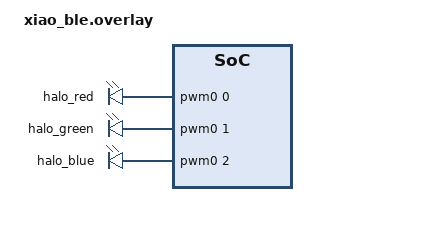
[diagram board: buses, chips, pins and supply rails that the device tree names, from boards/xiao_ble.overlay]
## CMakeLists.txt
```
cmake_minimum_required(VERSION 3.20.0)
find_package(Zephyr REQUIRED HINTS $ENV{ZEPHYR_BASE})
project(halo_nrf52840)

target_sources(app PRIVATE src/main.c src/radio.c)
```

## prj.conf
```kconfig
# USB CDC ACM serial console (works on DK, dongle, XIAO BLE, nice!nano, Feather, ...)
CONFIG_USB_DEVICE_STACK=y
CONFIG_USB_DEVICE_STACK_NEXT=n
CONFIG_USB_DEVICE_PRODUCT="halo-nrf52840"
CONFIG_USB_CDC_ACM=y
CONFIG_USB_DEVICE_INITIALIZE_AT_BOOT=n
CONFIG_SERIAL=y
CONFIG_CONSOLE=y
CONFIG_UART_CONSOLE=y
CONFIG_UART_LINE_CTRL=y

# Quiet console: no banner, no logging; the host tool parses replies line by line.
CONFIG_BOOT_BANNER=n
CONFIG_LOG=n
CONFIG_PRINTK=y

CONFIG_GPIO=y
CONFIG_CLOCK_CONTROL=y
CONFIG_MAIN_STACK_SIZE=4096

# The RADIO peripheral is driven directly; make sure nothing else owns it.
CONFIG_BT=n
CONFIG_IEEE802154=n
CONFIG_REBOOT=y
CONFIG_PWM=y
```

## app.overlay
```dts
/* CDC ACM console. Most nRF52840 boards (XIAO BLE, dongle, nice!nano, Feather UF2)
 * already define board_cdc_acm_uart through boards/common/usb/cdc_acm_serial.dtsi;
 * this merges with it and creates it for boards that lack it (nRF52840 DK).
 */
/ {
	chosen {
		zephyr,console = &board_cdc_acm_uart;
	};
};

&zephyr_udc0 {
	board_cdc_acm_uart: board_cdc_acm_uart {
		compatible = "zephyr,cdc-acm-uart";
	};
};
```

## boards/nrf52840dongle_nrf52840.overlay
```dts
#include "../app.overlay"

/* The dongle's LD2 RGB LED is already on PWM0 channels 0..2. */
/ {
	aliases {
		halo-red = &red_pwm_led;
		halo-green = &green_pwm_led;
		halo-blue = &blue_pwm_led;
	};
};
```

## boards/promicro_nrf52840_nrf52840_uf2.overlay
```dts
#include "../app.overlay"

/* Single LED on PWM0 channel 0: brightness follows the brightest of R, G, B. */
/ {
	aliases {
		halo-red = &red_pwm_led;
	};
};
```

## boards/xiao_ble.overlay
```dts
#include "../app.overlay"

/* Drive the XIAO's RGB LED (red P0.26, green P0.30, blue P0.06, active low)
 * from PWM0 so "LED R G B" has real brightness. The board's default PWM0 pin
 * (P0.17) is replaced.
 */
&pwm0_default {
	group1 {
		psels = <NRF_PSEL(PWM_OUT0, 0, 26)>, <NRF_PSEL(PWM_OUT1, 0, 30)>,
			<NRF_PSEL(PWM_OUT2, 0, 6)>;
		nordic,invert;
	};
};

&pwm0_sleep {
	group1 {
		psels = <NRF_PSEL(PWM_OUT0, 0, 26)>, <NRF_PSEL(PWM_OUT1, 0, 30)>,
			<NRF_PSEL(PWM_OUT2, 0, 6)>;
		low-power-enable;
	};
};

/ {
	halo_pwmleds {
		compatible = "pwm-leds";
		halo_red: halo_red {
			pwms = <&pwm0 0 PWM_USEC(1000) PWM_POLARITY_INVERTED>;
		};
		halo_green: halo_green {
			pwms = <&pwm0 1 PWM_USEC(1000) PWM_POLARITY_INVERTED>;
		};
		halo_blue: halo_blue {
			pwms = <&pwm0 2 PWM_USEC(1000) PWM_POLARITY_INVERTED>;
		};
	};

	aliases {
		halo-red = &halo_red;
		halo-green = &halo_green;
		halo-blue = &halo_blue;
	};
};
```

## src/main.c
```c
/* Serial front end: same line protocol as halo-esp32s3 so tools/halo_control.py
 * works unchanged. Nothing transmits unless the host sends a HALO command.
 */
#include <stdarg.h>
#include <stdbool.h>
#include <stdio.h>
#include <string.h>

#include <zephyr/kernel.h>
#include <zephyr/device.h>
#include <zephyr/devicetree.h>
#include <zephyr/drivers/gpio.h>
#include <zephyr/drivers/pwm.h>
#include <zephyr/drivers/uart.h>
#include <zephyr/sys/printk.h>
#include <zephyr/usb/usb_device.h>
#include <zephyr/sys/reboot.h>
#include <nrfx.h>

#include "halo_frame.h"
#include "radio.h"

#define CMD_LINE_MAX 128

#if defined(CONFIG_BOARD_XIAO_BLE) || defined(CONFIG_BOARD_ADAFRUIT_FEATHER_NRF52840) || \
	defined(CONFIG_BOARD_PROMICRO_NRF52840_NRF52840_UF2)
#define DFU_MAGIC 0x57		/* Adafruit nRF52 bootloader: DFU_MAGIC_UF2_RESET */
#else
#define DFU_MAGIC 0xb1		/* Nordic open bootloader: BOOTLOADER_DFU_START */
#endif

/* Payload byte 0 (flags) of a control packet. */
#define FLAG_POWER      0x80
#define FLAG_FRONT      0x40
#define FLAG_BACK       0x01
#define FLAG_BRIGHTNESS 0x04	/* selector: this packet carries a brightness value */
#define FLAG_TEMPERATURE 0x02	/* selector: this packet carries a colour temperature */

/* Payload byte 1: raw brightness code. 1..100 % maps linearly onto 0x4C..0xFE. */
#define LEVEL_MIN 0x4c
#define LEVEL_MAX 0xfe

/* Board LED mapping for "LED R G B".
 * PWM boards (halo-red/-green/-blue aliases from boards/*.overlay) get real
 * brightness with a gamma curve; a single halo-red channel follows max(R, G, B).
 * Otherwise each channel is a GPIO: non-zero = on.
 *   XIAO nRF52840: led0/led1/led2 are the red/green/blue dies of its RGB LED.
 *   nRF52840 dongle: led1/led2/led3 are the RGB LD2 (led0 is the green LD1).
 *   Single-LED boards (Pro Micro, DK...): led0 lights when any channel is non-zero.
 */
#define LED_OK(alias) DT_NODE_HAS_STATUS(DT_ALIAS(alias), okay)
#if DT_HAS_ALIAS(halo_red)
static const struct pwm_dt_spec pwm_leds[] = {
	PWM_DT_SPEC_GET(DT_ALIAS(halo_red)),
#if DT_HAS_ALIAS(halo_green) && DT_HAS_ALIAS(halo_blue)
	PWM_DT_SPEC_GET(DT_ALIAS(halo_green)), PWM_DT_SPEC_GET(DT_ALIAS(halo_blue)),
#endif
};
#define HAVE_PWM_LED 1
#else
#define HAVE_PWM_LED 0
#endif
#if defined(CONFIG_BOARD_NRF52840DONGLE) && LED_OK(led1) && LED_OK(led2) && LED_OK(led3)
static const struct gpio_dt_spec leds[] = {
	GPIO_DT_SPEC_GET(DT_ALIAS(led1), gpios), GPIO_DT_SPEC_GET(DT_ALIAS(led2), gpios),
	GPIO_DT_SPEC_GET(DT_ALIAS(led3), gpios),
};
#define LED_TYPE "LED board rgb GPIO"
#elif LED_OK(led0) && LED_OK(led1) && LED_OK(led2)
static const struct gpio_dt_spec leds[] = {
	GPIO_DT_SPEC_GET(DT_ALIAS(led0), gpios), GPIO_DT_SPEC_GET(DT_ALIAS(led1), gpios),
	GPIO_DT_SPEC_GET(DT_ALIAS(led2), gpios),
};
#define LED_TYPE "LED board rgb GPIO"
#elif LED_OK(led0)
static const struct gpio_dt_spec leds[] = {GPIO_DT_SPEC_GET(DT_ALIAS(led0), gpios)};
#define LED_TYPE "LED board led0 GPIO"
#else
static const struct gpio_dt_spec leds[] = {};
#define LED_TYPE "LED none"
#endif
#define HAVE_LED (ARRAY_SIZE(leds) > 0)

#if HAVE_PWM_LED
/* Perceptual brightness: pulse = period * (v / 255)^2. 1/255 is just visible. */
static void pwm_led_set(unsigned channel, unsigned value)
{
	const struct pwm_dt_spec *led = &pwm_leds[channel];
	uint32_t pulse = (uint32_t)((uint64_t)led->period * value * value / (255u * 255u));

	pwm_set_pulse_dt(led, pulse);
}
#endif

static const struct device *console = DEVICE_DT_GET(DT_CHOSEN(zephyr_console));

static const char HELP_TEXT[] =
	"BenQ ScreenBar Halo (1st generation) controller - nRF52840\n"
	"Firmware: halo-nrf52840 v0.2 (experimental)\n"
	"Radio: 2405 MHz, 125 kbit/s GFSK synthesized as 8x oversampled 1 Mbit/s symbols.\n"
	"Commands (newline terminated); press Enter to show this help again.\n"
	"HELP | help | ?       Print this help; no RF transmission.\n"
	"HALO?                Query protocol capabilities.\n"
	"HALO ADDR MODE LEVEL PID GAIN ATTEMPTS\n"
	"  ADDR: 8 hexadecimal digits, on-air address byte order.\n"
	"  MODE: 0=off, 1=front, 2=back, 3=both.\n"
	"  LEVEL: 0..100; 0=off, 1..100 maps to raw 4C..FE.\n"
	"  PID: 0..3; advance modulo 4 for each new command.\n"
	"  GAIN: 0..10 -> -40 -20 -16 -12 -8 -4 0 +2 +4 +6 +8 dBm.\n"
	"  ATTEMPTS: 1..5 maximum tries. Stop on matching CRC-valid ACK.\n"
	"  Example: HALO 16224CB1 2 50 0 8 3\n"
	"  Reply: HALODONE status attempts payload crc16 synth_us total_us turnaround_us ack_address_us ack_crc\n"
	"HALOTEMP ADDR MODE TEMP PID GAIN ATTEMPTS\n"
	"  Same as HALO but the frame carries colour temperature TEMP 0 (coldest)..100 (warmest).\n"
	"DIAG                 Details of the last attempt (RSSI, raw ACK bytes).\n"
	"PHY NRF1M|BLE1M      Modulator: Nrf_1Mbit (+-170 kHz, default) or Ble_1Mbit (+-250 kHz).\n"
	"DFU                  Reboot into the USB bootloader (UF2 drive or Nordic DFU).\n"
	"LED R G B            Board LED, 0..255 per colour (PWM with gamma on XIAO/dongle/Pro Micro); 50 50 50 at boot.\n"
	"LED?                 Query LED type.\n"
	"SYNC nonce           Echo synchronization marker.\n"
	"RELEASE              Acknowledge host cleanup.\n"
	"Each HALO command is bounded. No autonomous loop, no BLE.\n"
	"READY\n";

static void reply(const char *text)
{
	printk("%s", text);
}

static void replyf(const char *format, ...)
{
	char line[256];
	va_list args;

	va_start(args, format);
	vsnprintf(line, sizeof(line), format, args);
	va_end(args);
	reply(line);
}

/* Board LED at power-up, before the host sends anything. */
#define LED_DEFAULT_R 50
#define LED_DEFAULT_G 50
#define LED_DEFAULT_B 50

static void led_set(unsigned r, unsigned g, unsigned b)
{
#if HAVE_PWM_LED
	if (ARRAY_SIZE(pwm_leds) == 3) {
		pwm_led_set(0, r);
		pwm_led_set(1, g);
		pwm_led_set(2, b);
	} else {
		pwm_led_set(0, r > g ? (r > b ? r : b) : (g > b ? g : b));
	}
#else
	if (!HAVE_LED) {
		return;
	}
	if (ARRAY_SIZE(leds) == 3) {
		gpio_pin_set_dt(&leds[0], r != 0);
		gpio_pin_set_dt(&leds[1], g != 0);
		gpio_pin_set_dt(&leds[2], b != 0);
	} else {
		gpio_pin_set_dt(&leds[0], (r | g | b) != 0);
	}
#endif
}

static void handle_led(const char *line)
{
	unsigned r, g, b;
	char extra;

	if (sscanf(line, "LED %u %u %u %c", &r, &g, &b, &extra) != 3 || r > 255 || g > 255 ||
	    b > 255) {
		reply("ERR led_args\n");
		return;
	}
	if (!HAVE_PWM_LED && !HAVE_LED) {
		reply("ERR led_init\n");
		return;
	}
	led_set(r, g, b);
	replyf("OK LED %u %u %u\n", r, g, b);
}

/* HALO: brightness frame (LEVEL 0..100, 0 = off). HALOTEMP: colour temperature
 * frame (TEMP 0 coldest .. 100 warmest). Each frame carries exactly one selector.
 */
static void handle_halo(const char *args, bool temperature)
{
	unsigned addr, mode, level, pid, gain, max_attempts;
	char extra;
	int fields = sscanf(args, "%x %u %u %u %u %u %c", &addr, &mode, &level, &pid, &gain,
			    &max_attempts, &extra);

	if (fields != 6 || mode > 3 || level > 100 || pid > 3 || gain > 10 || max_attempts < 1 ||
	    max_attempts > 5) {
		reply("ERR halo_args\n");
		return;
	}

	/* Mode 0 keeps the front-lamp bits of an ordinary command but with POWER clear. */
	uint8_t lamps = mode == 2 ? FLAG_BACK : mode == 3 ? (FLAG_FRONT | FLAG_BACK) : FLAG_FRONT;
	uint8_t flags, value;

	if (temperature) {
		flags = lamps | FLAG_TEMPERATURE | (mode != 0 ? FLAG_POWER : 0);
		value = (uint8_t)level;
	} else {
		bool on = mode != 0 && level != 0;

		flags = lamps | FLAG_BRIGHTNESS | (on ? FLAG_POWER : 0);
		value = level ? (uint8_t)(LEVEL_MIN + ((level - 1) * (LEVEL_MAX - LEVEL_MIN) + 49) / 99)
			      : LEVEL_MIN;
	}

	int64_t start = k_uptime_ticks();
	uint16_t crc;
	halo_result_t r = halo_radio_send(addr, flags, value, pid, gain, max_attempts, &crc);
	uint64_t total_us = k_ticks_to_us_floor64(k_uptime_ticks() - start);
	const char *status = r.ack ? "ACK" : r.rx_error ? "RX_ERROR" : "NO_ACK";

	/* synth_us is 0: the frame is a byte table, there is no IQ synthesis here. */
	replyf("HALODONE %s %u %02X%02X %04X 0 %llu %u %u %04X\n", status, r.attempts,
	       (unsigned)flags, (unsigned)value, (unsigned)crc, (unsigned long long)total_us,
	       r.turnaround_us, r.ack_address_us, (unsigned)r.ack_crc);
}

static void handle_diag(void)
{
	const halo_diag_t *d = halo_radio_diag();

	replyf("DIAG phy=%s tx=%ddBm tx_us=%u rx_ready=%u rx_end=%u rx_match=%u address_us=%u bytes=%u\n",
	       d->phy == HALO_PHY_BLE1M ? "BLE1M" : "NRF1M", d->tx_dbm, d->tx_us, d->rx_ready,
	       d->rx_end, d->rx_match, d->rx_address_us, d->rx_bytes);
	replyf("DIAG rssi_max=%ddBm at %uus rssi_ack=%ddBm mismatches=%u spurious=%u offset=%d phase=%u verified=%u\n",
	       d->rssi_max_dbm, d->rssi_max_us, d->rssi_ack_dbm, d->mismatches, d->spurious, d->best_offset,
	       d->best_phase, d->verified_bits);
	reply("DIAG rssi16us=");
	for (unsigned i = 0; i < HALO_RSSI_TRACE; i++) {
		replyf("%d ", d->rssi_trace[i]);
	}
	reply("\n");
	reply("DIAG raw=");
	for (unsigned i = 0; i < d->rx_bytes && i < HALO_RX_BYTES; i++) {
		replyf("%02X", d->raw[i]);
	}
	reply("\n");
}

static void handle(const char *line)
{
	if (!strcmp(line, "HELP") || !strcmp(line, "help") || !strcmp(line, "?")) {
		reply(HELP_TEXT);
	} else if (!strncmp(line, "SYNC ", 5)) {
		reply(line);
		reply("\n");
	} else if (!strcmp(line, "RELEASE")) {
		reply("OK\n");
	} else if (!strcmp(line, "LED?")) {
#if HAVE_PWM_LED
		reply(ARRAY_SIZE(pwm_leds) == 3 ? "LED board rgb PWM\n" : "LED board led0 PWM\n");
#else
		reply(LED_TYPE "\n");
#endif
	} else if (!strncmp(line, "LED ", 4)) {
		handle_led(line);
	} else if (!strcmp(line, "HALO?")) {
		reply("HALO 3 ACK MAX_ATTEMPTS\n");
	} else if (!strncmp(line, "HALO ", 5)) {
		handle_halo(line + 5, false);
	} else if (!strncmp(line, "HALOTEMP ", 9)) {
		handle_halo(line + 9, true);
	} else if (!strcmp(line, "DFU")) {
		/* Reboot into the board's USB bootloader through GPREGRET: Adafruit UF2
		 * bootloader (XIAO, nice!nano, Feather) wants 0x57 and then shows a drive;
		 * Nordic's open bootloader wants BOOTLOADER_DFU_START = 0xB1.
		 */
		reply("OK DFU rebooting\n");
		k_msleep(50);
		NRF_POWER->GPREGRET = DFU_MAGIC;
		sys_reboot(SYS_REBOOT_COLD);
	} else if (!strcmp(line, "DIAG")) {
		handle_diag();
	} else if (!strcmp(line, "PHY NRF1M")) {
		halo_radio_set_phy(HALO_PHY_NRF1M);
		reply("OK PHY NRF1M\n");
	} else if (!strcmp(line, "PHY BLE1M")) {
		halo_radio_set_phy(HALO_PHY_BLE1M);
		reply("OK PHY BLE1M\n");
	} else if (!strcmp(line, "PHY?")) {
		replyf("PHY %s\n", halo_radio_get_phy() == HALO_PHY_BLE1M ? "BLE1M" : "NRF1M");
	} else {
		reply("ERR command - type HELP or press Enter for instructions\n");
	}
}

int main(void)
{
#if !HAVE_PWM_LED
	for (unsigned i = 0; i < ARRAY_SIZE(leds); i++) {
		if (gpio_is_ready_dt(&leds[i])) {
			gpio_pin_configure_dt(&leds[i], GPIO_OUTPUT_INACTIVE);
		}
	}
#endif
	led_set(LED_DEFAULT_R, LED_DEFAULT_G, LED_DEFAULT_B);
	if (usb_enable(NULL) != 0) {
		return 0;
	}
	halo_radio_init();

	char line[CMD_LINE_MAX];
	unsigned used = 0;
	bool overflow = false;

	for (;;) {
		unsigned char c;

		if (uart_poll_in(console, &c) != 0) {
			k_msleep(1);
			continue;
		}
		if (c == '\r') {
			continue;
		}
		if (c != '\n') {
			if (used + 1 < sizeof(line)) {
				line[used++] = (char)c;
			} else {
				overflow = true;
			}
			continue;
		}
		if (overflow) {
			reply("ERR line_too_long\n");
		} else if (used) {
			line[used] = 0;
			handle(line);
		} else {
			reply(HELP_TEXT);
		}
		used = 0;
		overflow = false;
	}
	return 0;
}
```

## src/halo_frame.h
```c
/* BenQ ScreenBar Halo (1st gen) air frame: bit layout and CRC16.
 * Plain C, no SoC dependencies. Same layout as halo-esp32s3/main/halo_synth.h.
 *
 * Command (81 bits, MSB first): 8-bit preamble 0x55, 32-bit address, 6-bit
 * length (=2), 2-bit PID, NO_ACK (=0), 2 payload bytes, CRC16 (poly 0x1021,
 * init 0xFFFF) over everything after the preamble.
 *
 * ACK (57 bits after the lamp's own preamble): 32-bit address, 6-bit length 0,
 * the same PID, NO_ACK = 1, CRC16 over those 41 bits.
 */
#pragma once
#include <stdint.h>

#define HALO_PACKET_BITS   81u
#define HALO_ACK_BITS      57u
#define HALO_ACK_BODY_BITS 41u

static inline uint16_t halo_crc16(const uint8_t *bits, unsigned count)
{
	uint16_t crc = 0xffff;

	for (unsigned j = 0; j < count; j++) {
		unsigned mix = (crc >> 15) ^ bits[j];

		crc = (uint16_t)(crc << 1);
		if (mix) {
			crc ^= 0x1021;
		}
	}
	return crc;
}

static inline void halo_append_bits(uint8_t *bits, unsigned *n, uint32_t value, unsigned width)
{
	for (unsigned i = width; i; i--) {
		bits[(*n)++] = (value >> (i - 1)) & 1;
	}
}

/* Write the 81-bit command MSB first into bits[]; returns its CRC16. */
static inline uint16_t halo_packet(uint32_t address, uint8_t flags, uint8_t value, unsigned pid,
				   uint8_t bits[HALO_PACKET_BITS])
{
	unsigned n = 0;

	halo_append_bits(bits, &n, 0x55, 8);
	halo_append_bits(bits, &n, address, 32);
	halo_append_bits(bits, &n, 2, 6);	/* payload length */
	halo_append_bits(bits, &n, pid, 2);
	halo_append_bits(bits, &n, 0, 1);	/* NO_ACK = 0: we want an ACK */
	halo_append_bits(bits, &n, flags, 8);
	halo_append_bits(bits, &n, value, 8);
	uint16_t crc = halo_crc16(bits + 8, n - 8);

	halo_append_bits(bits, &n, crc, 16);
	return crc;
}

/* Build the 57-bit pattern an ACK for (address, pid) must contain; returns its CRC16. */
static inline uint16_t halo_ack_pattern(uint32_t address, unsigned pid, uint8_t bits[HALO_ACK_BITS])
{
	unsigned n = 0;

	halo_append_bits(bits, &n, address, 32);
	halo_append_bits(bits, &n, 0, 6);	/* payload length 0 */
	halo_append_bits(bits, &n, pid, 2);
	halo_append_bits(bits, &n, 1, 1);	/* NO_ACK */
	uint16_t crc = halo_crc16(bits, HALO_ACK_BODY_BITS);

	halo_append_bits(bits, &n, crc, 16);
	return crc;
}
```

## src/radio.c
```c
/* nRF52840 RADIO driver for the ScreenBar Halo air interface.
 *
 * The lamp (Holtek BC5602) talks 125 kbit/s GFSK with +-160 kHz deviation on
 * 2405 MHz. The nRF52840 RADIO has no 125 kbit/s (nor 250 kbit/s) proprietary
 * mode, so the frame is sent through the 1 Mbit/s modulator with every air
 * symbol repeated 8 times: one 0x00 or 0xFF payload byte per 125 kbit/s bit.
 * Nrf_1Mbit uses +-170 kHz deviation, close enough to the lamp's 160 kHz.
 * Whitening and the hardware CRC are off; the frame CRC is in the payload.
 *
 * On-air stream (1 Mbit/s bytes):
 *   hw preamble (1 byte, alternating)      ignored by the lamp
 *   hw address  FF 00 FF 00 FF             symbols 1 0 1 0 1: extends the preamble
 *   payload     81 bytes of 0x00/0xFF      the 81-bit Halo frame
 *
 * The hardware address is sent base first (register LSByte first), prefix last;
 * this is the same mapping Bluetooth LE uses (BASE0 = AA << 8, PREFIX0 = AA >> 24).
 *
 * ACK: after END the radio flips to RX with a 3-symbol hardware address (see
 * rx_pattern below) that fires on the lamp's ramp-up carrier, preamble or ACK
 * body, then captures HALO_RX_BYTES of 0x00/0xFF bytes. decode_ack() votes them
 * into symbols at all 8 phases and aligns them against the expected preamble +
 * 57-bit ACK. RSSI is sampled until the address matches so an unmatched reply
 * still shows up as energy in DIAG.
 */
#include <string.h>

#include <zephyr/kernel.h>
#include <zephyr/irq.h>
#include <zephyr/drivers/clock_control.h>
#include <zephyr/drivers/clock_control/nrf_clock_control.h>
#include <nrfx.h>

#include "halo_frame.h"
#include "radio.h"

#define HALO_FREQUENCY      5u		/* 2400 + 5 = 2405 MHz */
#define SYMBOL_US           8u		/* one 125 kbit/s bit = 8 us = 8 bits at 1 Mbit/s */
#define RX_HW_SYMBOLS       3u		/* hardware address: 3 oversampled symbols */
#define RSSI_TRACE_STEP_US  16u
#define RX_WINDOW_US        1600u	/* lamp answers ~184 us after our packet, ACK lasts ~520 us */
#define TX_TIMEOUT_US       3000u
#define RETRY_DELAY_MS      100
#define HFXO_TIMEOUT_US     100000u

#define SYM(bit) ((uint8_t)((bit) ? 0xffu : 0x00u))

static halo_phy_t current_phy = HALO_PHY_NRF1M;
static uint8_t tx_buf[HALO_PACKET_BITS];
static uint8_t rx_buf[HALO_RX_BYTES];
static halo_diag_t diag;

/* GAIN 0..10 -> dBm. Index 8 (the ESP tool's default) is +4 dBm. */
static const int gain_dbm[11] = {-40, -20, -16, -12, -8, -4, 0, 2, 4, 6, 8};
static const uint32_t gain_reg[11] = {
	RADIO_TXPOWER_TXPOWER_Neg40dBm, RADIO_TXPOWER_TXPOWER_Neg20dBm,
	RADIO_TXPOWER_TXPOWER_Neg16dBm, RADIO_TXPOWER_TXPOWER_Neg12dBm,
	RADIO_TXPOWER_TXPOWER_Neg8dBm,  RADIO_TXPOWER_TXPOWER_Neg4dBm,
	RADIO_TXPOWER_TXPOWER_0dBm,     RADIO_TXPOWER_TXPOWER_Pos2dBm,
	RADIO_TXPOWER_TXPOWER_Pos4dBm,  RADIO_TXPOWER_TXPOWER_Pos6dBm,
	RADIO_TXPOWER_TXPOWER_Pos8dBm,
};

/* TIMER1 as a free-running 1 MHz microsecond clock. */
static void timer_init(void)
{
	NRF_TIMER1->TASKS_STOP = 1;
	NRF_TIMER1->MODE = TIMER_MODE_MODE_Timer;
	NRF_TIMER1->BITMODE = TIMER_BITMODE_BITMODE_32Bit;
	NRF_TIMER1->PRESCALER = 4;	/* 16 MHz / 2^4 */
	NRF_TIMER1->TASKS_CLEAR = 1;
	NRF_TIMER1->TASKS_START = 1;
}

static inline uint32_t now_us(void)
{
	NRF_TIMER1->TASKS_CAPTURE[0] = 1;
	return NRF_TIMER1->CC[0];
}

static bool hfxo_running(void)
{
	return (NRF_CLOCK->HFCLKSTAT & (CLOCK_HFCLKSTAT_SRC_Msk | CLOCK_HFCLKSTAT_STATE_Msk)) ==
	       ((CLOCK_HFCLKSTAT_SRC_Xtal << CLOCK_HFCLKSTAT_SRC_Pos) |
		(CLOCK_HFCLKSTAT_STATE_Running << CLOCK_HFCLKSTAT_STATE_Pos));
}

void halo_radio_init(void)
{
	/* The RADIO needs the 32 MHz crystal, not the RC oscillator. Keep it on. */
	static const struct device *clock = DEVICE_DT_GET_ONE(nordic_nrf_clock);

	(void)clock_control_on(clock, CLOCK_CONTROL_NRF_SUBSYS_HF);
	timer_init();
	memset(&diag, 0, sizeof(diag));
}

void halo_radio_set_phy(halo_phy_t phy)
{
	current_phy = phy;
}

halo_phy_t halo_radio_get_phy(void)
{
	return current_phy;
}

static int halo_radio_gain_dbm(unsigned gain)
{
	return gain_dbm[gain > 10 ? 10 : gain];
}

static void radio_reset_common(unsigned gain)
{
	NRF_RADIO->POWER = 0;
	NRF_RADIO->POWER = 1;
	NRF_RADIO->MODE = (current_phy == HALO_PHY_BLE1M ? RADIO_MODE_MODE_Ble_1Mbit
							 : RADIO_MODE_MODE_Nrf_1Mbit)
			  << RADIO_MODE_MODE_Pos;
	/* Fast ramp-up (40 us instead of 140 us: the ACK arrives ~184 us after our
	 * packet), DTX = center (unmodulated carrier outside the packet).
	 */
	NRF_RADIO->MODECNF0 = (RADIO_MODECNF0_RU_Fast << RADIO_MODECNF0_RU_Pos) |
			      (RADIO_MODECNF0_DTX_Center << RADIO_MODECNF0_DTX_Pos);
	NRF_RADIO->TXPOWER = gain_reg[gain > 10 ? 10 : gain] << RADIO_TXPOWER_TXPOWER_Pos;
	NRF_RADIO->FREQUENCY = HALO_FREQUENCY;
	/* No S0 / LENGTH / S1 fields, 8-bit preamble. */
	NRF_RADIO->PCNF0 = RADIO_PCNF0_PLEN_8bit << RADIO_PCNF0_PLEN_Pos;
	NRF_RADIO->CRCCNF = RADIO_CRCCNF_LEN_Disabled << RADIO_CRCCNF_LEN_Pos;
	NRF_RADIO->TIFS = 0;
	NRF_RADIO->SHORTS = 0;
	NRF_RADIO->INTENCLR = 0xffffffffu;
}

static uint32_t pcnf1(unsigned payload_bytes, unsigned balen)
{
	return ((uint32_t)payload_bytes << RADIO_PCNF1_MAXLEN_Pos) |
	       ((uint32_t)payload_bytes << RADIO_PCNF1_STATLEN_Pos) |
	       ((uint32_t)balen << RADIO_PCNF1_BALEN_Pos) |
	       (RADIO_PCNF1_ENDIAN_Little << RADIO_PCNF1_ENDIAN_Pos) |
	       (RADIO_PCNF1_WHITEEN_Disabled << RADIO_PCNF1_WHITEEN_Pos);
}

static void clear_events(void)
{
	NRF_RADIO->EVENTS_READY = 0;
	NRF_RADIO->EVENTS_ADDRESS = 0;
	NRF_RADIO->EVENTS_PAYLOAD = 0;
	NRF_RADIO->EVENTS_END = 0;
	NRF_RADIO->EVENTS_DISABLED = 0;
	NRF_RADIO->EVENTS_RSSIEND = 0;
}

static void radio_disable_sync(void)
{
	NRF_RADIO->SHORTS = 0;
	NRF_RADIO->EVENTS_DISABLED = 0;
	NRF_RADIO->TASKS_DISABLE = 1;
	uint32_t t0 = now_us();

	while (!NRF_RADIO->EVENTS_DISABLED && now_us() - t0 < 1000u) {
	}
}

/* Transmit tx_buf. Returns the END timestamp, or 0 on timeout. */
static uint32_t transmit(unsigned gain)
{
	radio_reset_common(gain);
	NRF_RADIO->PCNF1 = pcnf1(HALO_PACKET_BITS, 4);
	NRF_RADIO->BASE0 = 0x00ff00ffu;		/* on air: FF 00 FF 00 */
	NRF_RADIO->PREFIX0 = 0xffu;		/* then FF */
	NRF_RADIO->TXADDRESS = 0;
	NRF_RADIO->PACKETPTR = (uint32_t)tx_buf;
	NRF_RADIO->SHORTS = RADIO_SHORTS_READY_START_Msk | RADIO_SHORTS_END_DISABLE_Msk;
	clear_events();

	uint32_t t0 = now_us();

	NRF_RADIO->TASKS_TXEN = 1;
	uint32_t t_end = 0;

	while (now_us() - t0 < TX_TIMEOUT_US) {
		if (NRF_RADIO->EVENTS_END) {
			t_end = now_us();
			break;
		}
	}
	diag.tx_us = t_end ? t_end - t0 : 0;
	if (!t_end) {
		radio_disable_sync();
		return 0;
	}
	while (!NRF_RADIO->EVENTS_DISABLED && now_us() - t_end < 1000u) {
	}
	return t_end;
}

/* Hardware address patterns. Captures show the 1 Mbit/s demodulator decodes the
 * lamp's 0 symbols as solid runs of zeros but shortens and sometimes corrupts
 * the 1 symbols (its decision threshold sits off-centre: carrier offset). So
 * logical address 0 is three 0 symbols (24 zeros), which the lamp's unmodulated
 * ramp-up carrier, the preamble/address boundary or any 0 0 0 in the body
 * satisfies; logical address 1 (1 0 0) is a fallback that needs a two-symbol
 * run of ones in front of it. The capture is long enough to hold the whole ACK
 * from wherever the correlator fired; decode_ack() aligns it.
 */
static const uint8_t rx_pattern[2][RX_HW_SYMBOLS] = {{0, 0, 0}, {1, 0, 0}};

/* Decode the capture. Bit i of byte k was on air at 8k+i. For each of the 8
 * symbol phases the middle 6 bits of every 8-bit window are voted into a symbol.
 * Captures show 0 symbols come out as clean zeros while 1 symbols shrink to as
 * little as one bit (the demodulator's threshold sits off-centre), so any one
 * in the window makes it a 1. The result is aligned against the expected
 * sequence (8-bit preamble 0x55 + 57-bit ACK body) at every shift that keeps
 * the end of the body, i.e. the CRC, inside the capture. Accepted when the
 * overlap is exact, or when the whole body is present, every expected 0 was
 * received as 0 and at most MAX_SQUASHED expected ones came back as 0 (the
 * only error the demodulator makes). All ~35 zero positions plus the
 * remaining ones must still match, so a different ACK or noise cannot pass.
 */
#define MIN_VERIFY_BITS 24u
#define ACK_SEQ_BITS    (8u + HALO_ACK_BITS)
#define MAX_SQUASHED    6u

static bool decode_ack(const uint8_t *expected, unsigned nbytes)
{
	static uint8_t seq[ACK_SEQ_BITS];
	static uint8_t symbols[8][HALO_RX_BYTES];
	unsigned nsym = 0;

	for (unsigned i = 0; i < 8; i++) {
		seq[i] = i & 1;		/* 0 1 0 1 0 1 0 1 */
	}
	memcpy(seq + 8, expected, HALO_ACK_BITS);

	for (unsigned phase = 0; phase < 8; phase++) {
		unsigned n = 0;

		for (unsigned k = 0; (k + 1) * 8 + phase <= nbytes * 8; k++) {
			unsigned ones = 0;

			for (unsigned i = 1; i < 7; i++) {
				unsigned bit = k * 8 + phase + i;

				ones += (rx_buf[bit / 8] >> (bit % 8)) & 1;
			}
			symbols[phase][n++] = ones >= 1;
		}
		nsym = n;
	}

	diag.mismatches = HALO_ACK_BITS;
	diag.spurious = HALO_ACK_BITS;
	diag.best_offset = 0;
	diag.best_phase = 0;
	diag.verified_bits = 0;

	/* shift d: expected index i sits at symbol index i + d. */
	for (int d = -(int)(ACK_SEQ_BITS - MIN_VERIFY_BITS); d + (int)ACK_SEQ_BITS <= (int)nsym; d++) {
		unsigned first = d < 0 ? (unsigned)(-d) : 0;
		unsigned overlap = ACK_SEQ_BITS - first;

		if (overlap < MIN_VERIFY_BITS) {
			continue;
		}
		for (unsigned phase = 0; phase < 8; phase++) {
			unsigned errors = 0, spurious = 0;

			for (unsigned i = first; i < ACK_SEQ_BITS && errors <= diag.mismatches; i++) {
				uint8_t got = symbols[phase][(unsigned)((int)i + d)];

				errors += got != seq[i];
				spurious += got && !seq[i];
			}
			if (errors < diag.mismatches ||
			    (errors == diag.mismatches && overlap > diag.verified_bits)) {
				diag.mismatches = errors;
				diag.spurious = spurious;
				diag.best_offset = d;
				diag.best_phase = phase;
				diag.verified_bits = overlap;
			}
		}
	}
	if (diag.verified_bits < MIN_VERIFY_BITS) {
		return false;
	}
	return diag.mismatches == 0 ||
	       (diag.verified_bits >= HALO_ACK_BITS && diag.spurious == 0 &&
		diag.mismatches <= MAX_SQUASHED);
}

/* Listen for the ACK right after t_end. Fills diag and the result fields. */
static void receive_ack(uint32_t t_end, uint32_t address, unsigned pid, unsigned gain,
			halo_result_t *result)
{
	uint8_t expected[HALO_ACK_BITS];
	uint16_t ack_crc = halo_ack_pattern(address, pid, expected);

	diag.rx_bytes = HALO_RX_BYTES;

	radio_reset_common(gain);
	NRF_RADIO->PCNF1 = pcnf1(HALO_RX_BYTES, 2);
	/* BALEN = 2: the base is the two most significant register bytes, sent
	 * LSByte first, then the prefix (same mapping Bluetooth LE uses).
	 */
	NRF_RADIO->BASE0 = ((uint32_t)SYM(rx_pattern[0][0]) << 16) |
			   ((uint32_t)SYM(rx_pattern[0][1]) << 24);
	NRF_RADIO->BASE1 = ((uint32_t)SYM(rx_pattern[1][0]) << 16) |
			   ((uint32_t)SYM(rx_pattern[1][1]) << 24);
	NRF_RADIO->PREFIX0 = (uint32_t)SYM(rx_pattern[0][2]) | ((uint32_t)SYM(rx_pattern[1][2]) << 8);
	NRF_RADIO->RXADDRESSES = 0x3u;
	NRF_RADIO->PACKETPTR = (uint32_t)rx_buf;
	NRF_RADIO->SHORTS = RADIO_SHORTS_READY_START_Msk | RADIO_SHORTS_END_DISABLE_Msk |
			    RADIO_SHORTS_ADDRESS_RSSISTART_Msk;
	memset(rx_buf, 0xa5, sizeof(rx_buf));
	memset(diag.rssi_trace, 0, sizeof(diag.rssi_trace));
	clear_events();
	NRF_RADIO->TASKS_RXEN = 1;

	bool ready = false, addressed = false, ended = false, rssi_busy = false;
	int rssi_max = -128;
	uint32_t rssi_max_us = 0, t_ready = 0, t_addr = 0;
	unsigned trace_next = 0;

	while (now_us() - t_end < RX_WINDOW_US) {
		uint32_t t = now_us() - t_end;

		if (!ready && NRF_RADIO->EVENTS_READY) {
			ready = true;
			t_ready = t;
		}
		if (!addressed && NRF_RADIO->EVENTS_ADDRESS) {
			addressed = true;
			t_addr = t;
		}
		if (NRF_RADIO->EVENTS_END) {
			ended = true;
			break;
		}
		if (ready && !addressed) {
			if (!rssi_busy) {
				NRF_RADIO->EVENTS_RSSIEND = 0;
				NRF_RADIO->TASKS_RSSISTART = 1;
				rssi_busy = true;
			} else if (NRF_RADIO->EVENTS_RSSIEND) {
				int dbm = -(int)(NRF_RADIO->RSSISAMPLE & 0x7f);

				if (dbm > rssi_max) {
					rssi_max = dbm;
					rssi_max_us = t;
				}
				if (trace_next < HALO_RSSI_TRACE && t >= trace_next * RSSI_TRACE_STEP_US) {
					diag.rssi_trace[trace_next++] = (int8_t)dbm;
				}
				rssi_busy = false;
			}
		}
	}

	if (ended) {
		/* ADDRESS_RSSISTART sampled the RSSI during the ACK itself. */
		diag.rssi_ack_dbm = -(int)(NRF_RADIO->RSSISAMPLE & 0x7f);
		diag.rx_match = NRF_RADIO->RXMATCH;
		if (diag.rssi_ack_dbm > rssi_max) {
			rssi_max = diag.rssi_ack_dbm;
			rssi_max_us = t_addr;
		}
	} else {
		diag.rssi_ack_dbm = 0;
		diag.rx_match = 0;
	}
	radio_disable_sync();

	diag.rx_ready = ready;
	diag.rx_end = ended;
	diag.rx_address_us = addressed ? t_addr : 0;
	diag.rssi_max_dbm = rssi_max;
	diag.rssi_max_us = rssi_max_us;
	memcpy(diag.raw, rx_buf, sizeof(diag.raw));
	diag.mismatches = HALO_ACK_BITS;
	diag.spurious = HALO_ACK_BITS;
	diag.best_offset = -1;
	diag.best_phase = 0;
	diag.verified_bits = 0;

	result->rx_error = !ready;
	result->turnaround_us = ready ? t_ready : 0;
	result->ack = false;
	result->ack_address_us = 0;
	result->ack_crc = 0;
	if (!ended) {
		return;
	}

	if (decode_ack(expected, HALO_RX_BYTES)) {
		result->ack = true;
		result->ack_crc = ack_crc;
		/* ADDRESS fires where the capture starts; the ACK body (expected
		 * index 8) sits best_offset + 8 symbols later.
		 */
		result->ack_address_us = (uint32_t)((int)t_addr + (diag.best_offset + 8) * (int)SYMBOL_US);
	}
}

halo_result_t halo_radio_send(uint32_t address, uint8_t flags, uint8_t value, unsigned pid,
			      unsigned gain, unsigned max_attempts, uint16_t *crc)
{
	halo_result_t result = {0};
	uint8_t bits[HALO_PACKET_BITS];

	*crc = halo_packet(address, flags, value, pid, bits);
	for (unsigned i = 0; i < HALO_PACKET_BITS; i++) {
		tx_buf[i] = SYM(bits[i]);
	}

	memset(&diag, 0, sizeof(diag));
	diag.phy = current_phy;
	diag.tx_dbm = halo_radio_gain_dbm(gain);

	/* Make sure the crystal is up before touching the RADIO. */
	uint32_t t0 = now_us();

	while (!hfxo_running() && now_us() - t0 < HFXO_TIMEOUT_US) {
		k_msleep(1);
	}
	if (!hfxo_running()) {
		result.rx_error = true;
		return result;
	}

	for (unsigned attempt = 0; attempt < max_attempts; attempt++) {
		unsigned key = irq_lock();
		uint32_t t_end = transmit(gain);

		result.attempts++;
		if (!t_end) {
			irq_unlock(key);
			result.rx_error = true;
			break;
		}
		receive_ack(t_end, address, pid, gain, &result);
		irq_unlock(key);
		if (result.ack || result.rx_error) {
			break;
		}
		if (attempt + 1 < max_attempts) {
			k_msleep(RETRY_DELAY_MS);
		}
	}
	return result;
}

const halo_diag_t *halo_radio_diag(void)
{
	return &diag;
}
```

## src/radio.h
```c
#pragma once
#include <stdbool.h>
#include <stdint.h>

typedef enum {
	HALO_PHY_NRF1M = 0,	/* Nrf_1Mbit: +-170 kHz deviation (closest to the lamp's 160 kHz) */
	HALO_PHY_BLE1M = 1,	/* Ble_1Mbit: +-250 kHz deviation, fallback experiment */
} halo_phy_t;

typedef struct {
	unsigned attempts;	/* transmissions actually made */
	bool ack;		/* exact, CRC-valid ACK received */
	bool rx_error;		/* radio did not reach RX in time */
	uint32_t turnaround_us;	/* end of our packet to RX ready */
	uint32_t ack_address_us;/* ACK address field start, relative to end of our packet */
	uint16_t ack_crc;	/* CRC16 of the accepted ACK */
} halo_result_t;

/* Diagnostics of the last attempt, for the DIAG command. */
#define HALO_RX_BYTES 96u
#define HALO_RSSI_TRACE 48u

typedef struct {
	halo_phy_t phy;
	int tx_dbm;
	uint32_t tx_us;		/* TXEN to END */
	bool rx_ready;
	bool rx_end;		/* hardware address matched and payload captured */
	unsigned rx_match;	/* RXMATCH logical address when rx_end */
	uint32_t rx_address_us;	/* ADDRESS event, relative to end of our packet */
	unsigned rx_bytes;	/* payload bytes captured */
	unsigned best_phase;	/* symbol phase (0..7) of the best decode */
	unsigned verified_bits;	/* ACK bits compared at the best alignment */
	int8_t rssi_trace[HALO_RSSI_TRACE];	/* dBm every 16 us from RX ready */
	int rssi_max_dbm;	/* strongest RSSI sample seen in the listen window */
	uint32_t rssi_max_us;	/* when it was seen, relative to end of our packet */
	int rssi_ack_dbm;	/* RSSI sampled at the address match (rx_end only) */
	unsigned mismatches;	/* bit errors against the expected ACK at the best offset */
	unsigned spurious;	/* of those, expected 0 received as 1 */
	int best_offset;	/* capture symbol index of the expected preamble start */
	uint8_t raw[HALO_RX_BYTES];
} halo_diag_t;

void halo_radio_init(void);
void halo_radio_set_phy(halo_phy_t phy);
halo_phy_t halo_radio_get_phy(void);

/* Send one command with up to max_attempts tries, 100 ms apart, stopping at the
 * first verified ACK. Returns the result and fills *crc with the command CRC16.
 */
halo_result_t halo_radio_send(uint32_t address, uint8_t flags, uint8_t value, unsigned pid,
			      unsigned gain, unsigned max_attempts, uint16_t *crc);

const halo_diag_t *halo_radio_diag(void);
```
